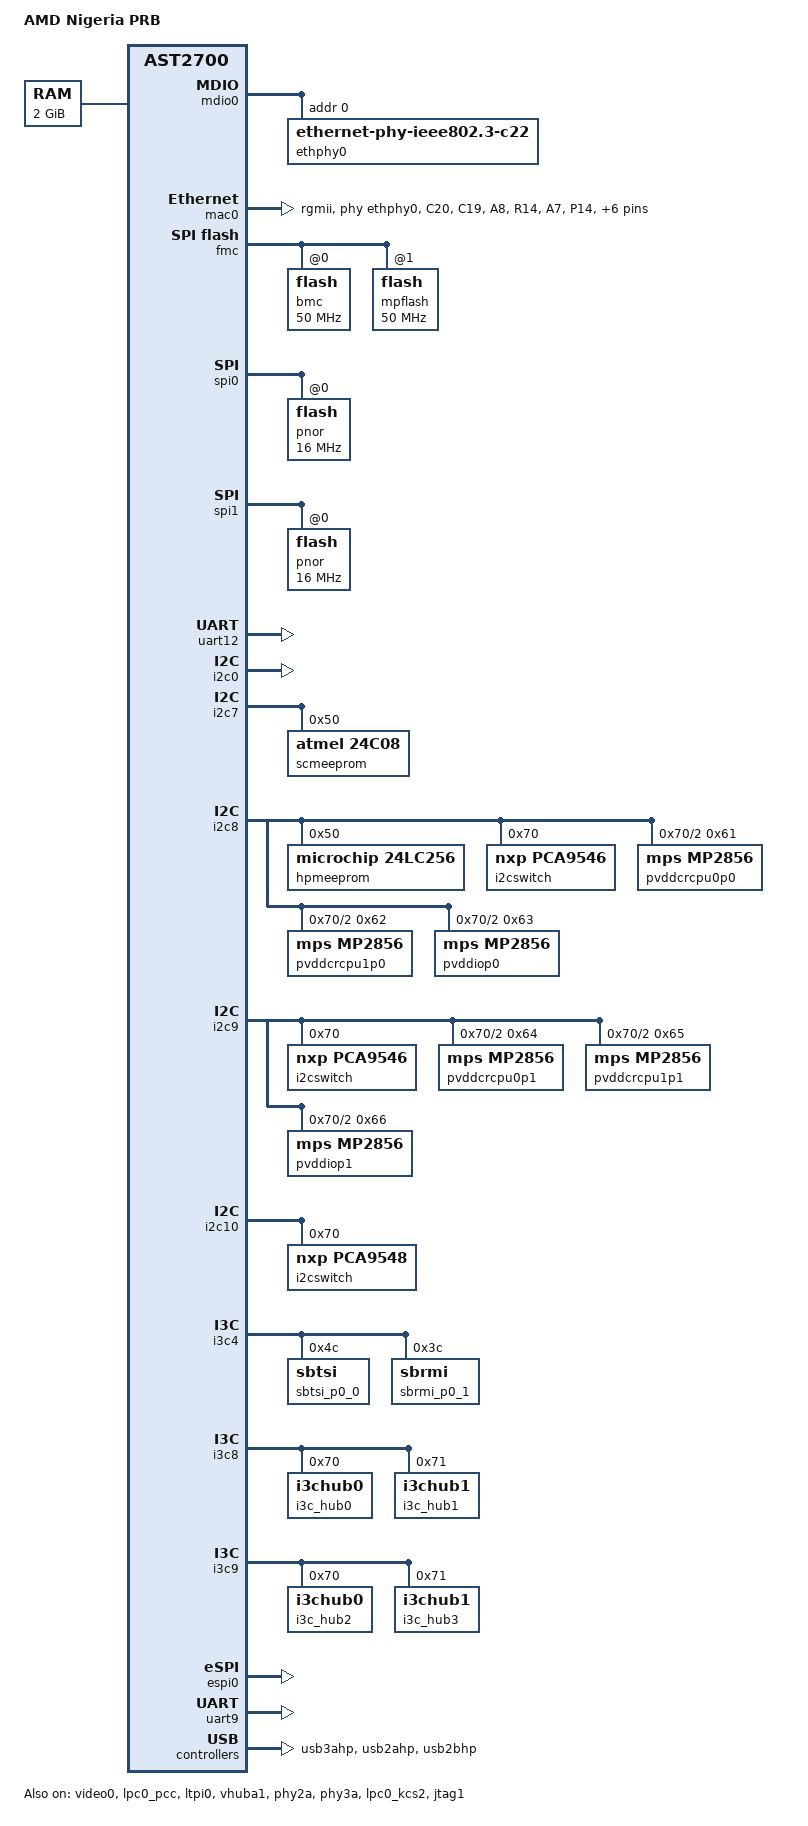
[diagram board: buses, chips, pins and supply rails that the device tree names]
// SPDX-License-Identifier: GPL-2.0
// Copyright (c) 2024 AMD Inc.
// Author: Mahesh Kurapati <mahesh.kurapati@amd.com>
//         Mohsen Dolaty <mohsen.dolaty@amd.com>

/dts-v1/;

#include "aspeed-g7.dtsi"
#include "dt-bindings/gpio/aspeed-gpio.h"
#include <dt-bindings/i2c/i2c.h>
#include <dt-bindings/i3c/i3c.h>

/ {
	model = "AMD Nigeria PRB";
	compatible = "amd,nigeria-bmc", "aspeed,ast2700";

	chosen {
		stdout-path = &uart12;
		bootargs = "console=ttyS12,115200n8";
	};

	firmware {
		optee: optee {
			compatible = "linaro,optee-tz";
			method = "smc";
		};
	};

	memory@400000000 {
		device_type = "memory";
		reg = <0x4 0x00000000 0x0 0x80000000>;
	};

	reserved-memory {
		#address-cells = <2>;
		#size-cells = <2>;
		ranges;

		mcu_fw: mcu-firmware@42fe00000 {
			reg = <0x4 0x2fe00000 0x0 0x200000>;
			no-map;
		};

		atf: trusted-firmware-a@430000000 {
			reg = <0x4 0x30000000 0x0 0x80000>;
			no-map;
		};

		optee_core: optee_core@430080000 {
			reg = <0x4 0x30080000 0x0 0x1000000>;
			no-map;
		};

		video_engine_memory0: video0 {
			size = <0x0 0x04000000>;  /* 64M */
			alignment = <0x0 0x00010000>;
			compatible = "shared-dma-pool";
			reusable;
		};
	};

	aliases {
		i2c100 = &p0_0_0;
		i2c101 = &p0_0_1;
		i2c102 = &p0_0_2;
		i2c103 = &p0_0_3;
		i2c120 = &vr_2_0;
		i2c121 = &temp_2_1;
		i2c122 = &lcd_2_2;
		i2c123 = &clk_2_3;
		i2c124 = &usb_2_4;
		i2c125 = &adc_2_5;
		i2c126 = &adc_2_6;
		i2c127 = &pcp_2_7;
		i2c200 = &p1_0_0;
		i2c201 = &p1_0_1;
		i2c202 = &p1_0_2;
		i2c203 = &p1_0_3;
	};
};

&mdio0 {
	status = "okay";
	#address-cells = <1>;
	#size-cells = <0>;

	ethphy0: ethernet-phy@0 {
		compatible = "ethernet-phy-ieee802.3-c22";
		reg = <0>;
	};
};

&pinctrl1 {
	pinctrl_rgmii0_driving: rgmii0_driving {
		pins = "C20", "C19", "A8", "R14", "A7", "P14",
		       "D20", "A6", "B6", "N14", "B7", "B8";
		drive-strength = <1>;
	};
};

&mac0 {
	status = "okay";
	phy-mode = "rgmii";
	phy-handle = <&ethphy0>;
	pinctrl-names = "default";
	pinctrl-0 = <&pinctrl_rgmii0_default &pinctrl_rgmii0_driving>;
};

&fmc {
	status = "okay";
	pinctrl-0 = <&pinctrl_fwspi_quad_default>;
	pinctrl-names = "default";

	flash@0 {
		status = "okay";
		m25p,fast-read;
		label = "bmc";
		spi-max-frequency = <50000000>;
		spi-tx-bus-width = <4>;
		spi-rx-bus-width = <4>;
#include "amd-flash-layout-128.dtsi"
	};

	flash@1 {
		status = "okay";
		m25p,fast-read;
		label = "mpflash";
		spi-max-frequency = <50000000>;
		spi-tx-bus-width = <4>;
		spi-rx-bus-width = <4>;
	};
};

&spi0 {
	status = "okay";
	pinctrl-0 = <&pinctrl_spi0_default &pinctrl_spi0_cs1_default>;
	pinctrl-names = "default";

	flash@0 {
		status = "okay";
		m25p,fast-read;
		label = "pnor";
		spi-max-frequency = <16000000>;
		spi-tx-bus-width = <1>;
		spi-rx-bus-width = <1>;
	};
};

&spi1 {
	status = "okay";
	pinctrl-0 = <&pinctrl_spi1_default &pinctrl_spi1_cs1_default>;
	pinctrl-names = "default";

	flash@0 {
		status = "okay";
		m25p,fast-read;
		label = "pnor";
		spi-max-frequency = <16000000>;
		spi-tx-bus-width = <1>;
		spi-rx-bus-width = <1>;
	};
};

//BMC Console
&uart12 {
	status = "okay";
};

&i2c0 {
	// FPGA_I2C_SDA<2>
	/delete-property/ pinctrl-names;
	/delete-property/ pinctrl-0;
	status = "okay";
};

&i2c7 {
	status = "okay";
	scmeeprom@50 {
		compatible = "atmel,24c08";
		reg = <0x50>;
	};
};

&i2c8 {
	// Net name SCM_I2C<0>
	status = "okay";
	hpmeeprom@50 {
		compatible = "microchip,24lc256","atmel,24c256";
		reg = <0x50>;
	};

	// SCM brd_id, Congo brd_id, CLK
	i2cswitch@70 {
		compatible = "nxp,pca9546";
		reg = <0x70>;
		#address-cells = <1>;
		#size-cells = <0>;

		p0_0_0: i2c@0 {
			reg = <0>;
			#address-cells = <1>;
			#size-cells = <0>;
		};

		p0_0_1: i2c@1 {
			reg = <1>;
			#address-cells = <1>;
			#size-cells = <0>;
		};

		p0_0_2: i2c@2 {
			reg = <2>;
			#address-cells = <1>;
			#size-cells = <0>;
			pvddcrcpu0p0@61 {
				//PVDDCR_CPU0_VDDIO_MEM_S3_P0_CONTROLLER
				compatible = "mps,mp2856";
				reg = <0x61>;
			};
			pvddcrcpu1p0@62 {
				//PVDDCR_CPU1_PVDDCR_SOC_P0_CONTROLLER
				compatible = "mps,mp2856";
				reg = <0x62>;
			};
			pvddiop0@63 {
				//PVDDIO_P0_CONTROLLER
				compatible = "mps,mp2856";
				reg = <0x63>;
			};
		};

		p0_0_3: i2c@3 {
			reg = <3>;
			#address-cells = <1>;
			#size-cells = <0>;
		};
	};
};

&i2c9 {
	// Net name SCM_I2C<1>
	status = "okay";

	// SCM brd_id, Congo brd_id, CLK
	i2cswitch@70 {
		compatible = "nxp,pca9546";
		reg = <0x70>;
		#address-cells = <1>;
		#size-cells = <0>;

		p1_0_0: i2c@0 {
			reg = <0>;
			#address-cells = <1>;
			#size-cells = <0>;
		};

		p1_0_1: i2c@1 {
			reg = <1>;
			#address-cells = <1>;
			#size-cells = <0>;
		};

		p1_0_2: i2c@2 {
			reg = <2>;
			#address-cells = <1>;
			#size-cells = <0>;
			pvddcrcpu0p1@64 {
				//PVDDCR_CPU0_VDDIO_MEM_S3_P1_CONTROLLER
				compatible = "mps,mp2856";
				reg = <0x64>;
			};
			pvddcrcpu1p1@65 {
				//PVDDCR_CPU1_PVDDCR_SOC_P1_CONTROLLER
				compatible = "mps,mp2856";
				reg = <0x65>;
			};
			pvddiop1@66 {
				//PVDDIO_P1_CONTROLLER
				compatible = "mps,mp2856";
				reg = <0x66>;
			};
		};

		p1_0_3: i2c@3 {
			reg = <3>;
			#address-cells = <1>;
			#size-cells = <0>;
		};
	};
};


&i2c10 {
	// Net name i2c2 (SCM_I2C_SDA<2>) - VR/LM75/ADC
	status = "okay";

	i2cswitch@70 {
		compatible = "nxp,pca9548";
		reg = <0x70>;
		#address-cells = <1>;
		#size-cells = <0>;

		vr_2_0: i2c@0 {
			reg = <0>;
			#address-cells = <1>;
			#size-cells = <0>;
		};

		temp_2_1: i2c@1 {
			reg = <1>;
			#address-cells = <1>;
			#size-cells = <0>;
		};

		lcd_2_2: i2c@2 {
			reg = <2>;
			#address-cells = <1>;
			#size-cells = <0>;
		};

		clk_2_3: i2c@3 {
			reg = <3>;
			#address-cells = <1>;
			#size-cells = <0>;
		};

		usb_2_4: i2c@4 {
			reg = <4>;
			#address-cells = <1>;
			#size-cells = <0>;
		};

		adc_2_5: i2c@5 {
			reg = <5>;
			#address-cells = <1>;
			#size-cells = <0>;
		};

		adc_2_6: i2c@6 {
			reg = <6>;
			#address-cells = <1>;
			#size-cells = <0>;
		};

		pcp_2_7: i2c@7 {
			reg = <7>;
			#address-cells = <1>;
			#size-cells = <0>;
		};
	};
};

&i3c4 {
	status = "okay";
	initial-role = "primary";
	bus-context = /bits/ 8 <I3C_BUS_CONTEXT_JESD403>;
	i3c-scl-hz = <6000000>;
	i2c-scl-hz = <1000000>;
	sbtsi_p0_0: sbtsi@4c,22400000001 {
		reg = <0x4c 0x224 0x00000001>;
		assigned-address = <0x4c>;
	};
	sbrmi_p0_1: sbrmi@3c,22400000002 {
		reg = <0x3c 0x224 0x00000002>;
		assigned-address = <0x3c>;
	};
};

#define JESD300_SPD_I3C_MODE(bus, index, addr) \
spd_ ## bus ## _ ## index: spd@addr,4cc5118 ## index ## 000 { \
	reg = <0x ## addr 0x4cc 0x5118 ## index ## 000>; \
	assigned-address = <0x ## addr>; \
	dcr = /bits/ 8 <0xda>; \
	bcr = /bits/ 8 <0x6>; \
}

&i3c8 {
	status = "okay";
	initial-role = "primary";
	bus-context = /bits/ 8 <I3C_BUS_CONTEXT_JESD403>;
	internal-pullup = <2>;
	i3c-scl-hz = <10000000>;
	i2c-scl-hz = <1000000>;
	i3c_hub0: i3chub0@70,4CC00000000 {
		reg = <0x70 0x4CC 0x00000000>;
		assigned-address = <0x70>;
	};
	i3c_hub1: i3chub1@71,4CC00000001 {
		reg = <0x71 0x4CC 0x00000001>;
		assigned-address = <0x71>;
	};
	JESD300_SPD_I3C_MODE(0, 0, 50);
	JESD300_SPD_I3C_MODE(0, 1, 51);
	JESD300_SPD_I3C_MODE(0, 2, 52);
	JESD300_SPD_I3C_MODE(0, 3, 53);
	JESD300_SPD_I3C_MODE(0, 4, 54);
	JESD300_SPD_I3C_MODE(0, 5, 55);
	JESD300_SPD_I3C_MODE(0, 6, 56);
	JESD300_SPD_I3C_MODE(0, 7, 57);
};

&i3c9 {
	status = "okay";
	initial-role = "primary";
	bus-context = /bits/ 8 <I3C_BUS_CONTEXT_JESD403>;
	internal-pullup = <2>;
	i3c-scl-hz = <10000000>;
	i2c-scl-hz = <1000000>;
	i3c_hub2: i3chub0@70,4CC00000000 {
		reg = <0x70 0x4CC 0x00000000>;
		assigned-address = <0x70>;
	};
	i3c_hub3: i3chub1@71,4CC00000001 {
		reg = <0x71 0x4CC 0x00000001>;
		assigned-address = <0x71>;
	};
	JESD300_SPD_I3C_MODE(1, 0, 50);
	JESD300_SPD_I3C_MODE(1, 1, 51);
	JESD300_SPD_I3C_MODE(1, 2, 52);
	JESD300_SPD_I3C_MODE(1, 3, 53);
	JESD300_SPD_I3C_MODE(1, 4, 54);
	JESD300_SPD_I3C_MODE(1, 5, 55);
	JESD300_SPD_I3C_MODE(1, 6, 56);
	JESD300_SPD_I3C_MODE(1, 7, 57);
};

&gpio0 {
        gpio-line-names =
                /*A0-A7*/       "","","","","","","","",
                /*B0-B7*/       "","","","","","","","",
                /*C0-C7*/       "","","","","","","","",
                /*D0-D7*/       "","","","","","","","",
                /*E0-E7*/       "","","","","","","","",
                /*F0-F7*/       "","","","","","","","",
                /*G0-G7*/       "","","","","","","","",
                /*H0-H7*/       "","","","","","","","",
                /*I0-I7*/       "","","","","","","","",
                /*J0-J7*/       "","","","","","","","",
                /*K0-K7*/       "","","","","","","","",
                /*L0-L7*/       "","","","","","","","",
                /*M0-M7*/       "","","","","","","","",
                /*N0-N7*/       "","","","","","","","",
                /*O0-O7*/       "","","","","","","","",
                /*P0-P7*/       "","","","","","","","",
                /*Q0-Q7*/       "","","","","","","","",
                /*R0-R7*/       "","","","","","","","",
                /*S0-S7*/       "","","","","","","","",
                /*T0-T7*/       "","","","","","","","",
                /*U0-U7*/       "","","","","","","","",
                /*V0-V7*/       "","","","","","","","",
                /*W0-W7*/       "","","","","","","","",
                /*X0-X7*/       "","","","","","","","",
                /*Y0-Y7*/       "","","","","","","","",
                /*Z0-Z7*/       "","","","","","","","",
                /*AA0-AA7*/     "","","","","","","","",
                /*AB0-AB7*/     "HPM_STBY_EN","P0_MGMT_ASSERT_CLR_CMOS",
				"P0_MGMT_MON_PROCHOT_L","","","",
				"P0_MGMT_ASSERT_NMI_BTN_L",
				"MGMT_SYS_MON_ATX_PWR_OK",
                /*AC0-AC7*/     "P0_PRESENT_L","P0_MGMT_MON_RSMRST_L",
				"P0_MGMT_MON_POST_COMPLETE",
				"P0_MGMT_MON_THERMTRIP_L",
				"P0_MGMT_MON_PWR_GOOD","P0_ASSERT_RSMRST",
				"P0_MGMT_SOC_RESET_L",
				"P0_MGMT_MON_PSP_SOFT_FUSE_NTFY",
                /*AD0-AD7*/     "P0_I3C_APML_ALERT_L","MGMT_HDT_SEL",
				"SCM_JTAG_DBREQ","JTAG_TRST_N","P1_PRESENT_L",
				"","","",
                /*AE0-AE7*/     "P0_MGMT_ASSERT_RST_BTN_L",
				"P0_MGMT_ASSERT_PWR_BTN_L",
				"P0_MGMT_MON_RST_BTN_L",
				"P0_MGMT_MON_PWR_BTN_L","","","","";
};

&video0 {
	status = "okay";
	memory-region = <&video_engine_memory0>;
};

&espi0 {
	status = "okay";
	perif-dma-mode;
	oob-dma-mode;
	flash-dma-mode;
};

&lpc0_pcc {
	port-addr = <0x80>;
	dma-mode;
	A2600-15;
	rec-mode = <0x1>;
	port-addr-hbits-select = <0x1>;
	port-addr-xbits = <0x3>;
	status = "okay";
};

&ltpi0 {
	status = "okay";
};

&uart9 {
	/delete-property/ pinctrl-names;
	/delete-property/ pinctrl-0;
	status = "okay";
};

&vhuba1 {
	status = "okay";
};

&usb3ahp {
	status = "okay";
};

&usb2ahp {
	status = "okay";
};

&usb2bhp {
	status = "okay";
};

&phy2a {
	status = "okay";
};

&phy3a {
	status = "okay";
};

&lpc0_kcs2 {
	status = "okay";
	kcs-io-addr = <0xca2>;
	kcs-channel = <2>;
};

&jtag1 {
	status = "okay";
};
